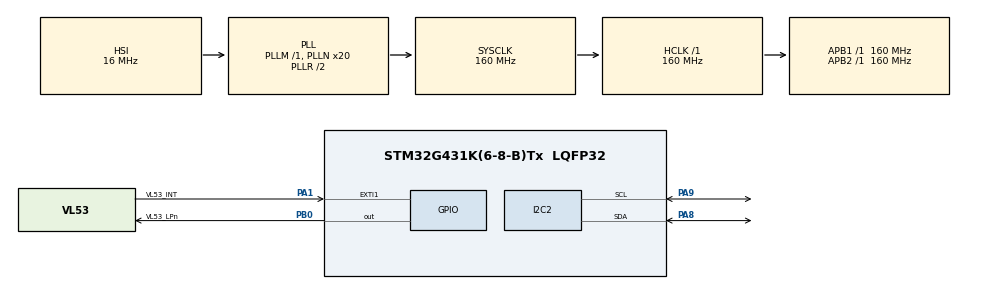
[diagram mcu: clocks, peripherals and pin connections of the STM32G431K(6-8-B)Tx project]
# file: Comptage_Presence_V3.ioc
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I2C2.Timing=0x30D29DE4
Mcu.Family=STM32G4
Mcu.Name=STM32G431K(6-8-B)Tx
Mcu.Package=LQFP32
NVIC.EXTI1_IRQn=true\:0\:0\:false\:false\:true\:true\:true\:true
NVIC.PriorityGroup=NVIC_PRIORITYGROUP_4
PA1.GPIO_Label=VL53_INT
PA1.GPIO_ModeDefaultEXTI=GPIO_MODE_IT_FALLING
PA1.GPIO_PuPd=GPIO_PULLUP
PA1.Signal=GPXTI1
PA13.Mode=Serial_Wire
PA13.Signal=SYS_JTMS-SWDIO
PA14.Mode=Serial_Wire
PA14.Signal=SYS_JTCK-SWCLK
PA8.Mode=I2C
PA8.Signal=I2C2_SDA
PA9.Mode=I2C
PA9.Signal=I2C2_SCL
PB0.GPIO_Label=VL53_LPn
PB0.Signal=GPIO_Output
ProjectManager.HeapSize=0x200
ProjectManager.StackSize=0x400
ProjectManager.TargetToolchain=STM32CubeIDE
RCC.ADC12Freq_Value=160000000
RCC.AHBFreq_Value=160000000
RCC.APB1Freq_Value=160000000
RCC.APB1TimFreq_Value=160000000
RCC.APB2Freq_Value=160000000
RCC.APB2TimFreq_Value=160000000
RCC.CortexFreq_Value=160000000
RCC.EXTERNAL_CLOCK_VALUE=12288000
RCC.HCLKFreq_Value=160000000
RCC.HSE_VALUE=8000000
RCC.HSI48_VALUE=48000000
RCC.HSI_VALUE=16000000
RCC.LSE_VALUE=32768
RCC.PLLN=20
RCC.SYSCLKFreq_VALUE=160000000
RCC.SYSCLKSource=RCC_SYSCLKSOURCE_PLLCLK
RCC.USBFreq_Value=160000000
RCC.VCOOutputFreq_Value=320000000
VP_SYS_VS_DBSignals.Mode=DisableDeadBatterySignals
board=custom

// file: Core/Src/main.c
/* USER CODE BEGIN Header */
/**
  ******************************************************************************
  * @file           : main.c
  * @brief          : Main program body
  ******************************************************************************
  * @attention
  *
  * Copyright (c) 2026 STMicroelectronics.
  * All rights reserved.
  *
  * This software is licensed under terms that can be found in the LICENSE file
  * in the root directory of this software component.
  * If no LICENSE file comes with this software, it is provided AS-IS.
  *
  ******************************************************************************
  */
/* USER CODE END Header */
#include "main.h"

/* USER CODE BEGIN Includes */
#include "vl53l5cx_api.h"
/* USER CODE END Includes */

/* USER CODE BEGIN PD */
#define HAL_UART_MODULE_ENABLED
/* USER CODE END PD */

I2C_HandleTypeDef hi2c2;

/* USER CODE BEGIN PV */
VL53L5CX_Configuration 	Dev;
VL53L5CX_ResultsData 	Results;

#define DIST_THRESHOLD_MM 1000

typedef enum {
    STATE_IDLE,
    STATE_WAIT_EXIT_RIGHT,
    STATE_WAIT_EXIT_LEFT
} CountState_t;

CountState_t currentState = STATE_IDLE;
int32_t passageCounter = 0;
uint8_t flagTargetInExitCol = 0;
/* USER CODE END PV */

void SystemClock_Config(void);
static void MX_GPIO_Init(void);
static void MX_I2C2_Init(void);
/* USER CODE BEGIN PFP */
uint32_t Get_Column_Average(VL53L5CX_ResultsData *pResults, uint8_t col_index);
/* USER CODE END PFP */

int main(void)
{

  /* MCU Configuration--------------------------------------------------------*/

  /* Reset of all peripherals, Initializes the Flash interface and the Systick. */
  HAL_Init();

  /* Configure the system clock */
  SystemClock_Config();

  /* Initialize all configured peripherals */
  MX_GPIO_Init();
  MX_I2C2_Init();
  /* USER CODE BEGIN 2 */
  /* USER CODE BEGIN 2 */
    printf("\r\n--- Initialisation VL53L5CX (Mode I2C2) --- \r\n");

    HAL_GPIO_WritePin(GPIOB, GPIO_PIN_0, GPIO_PIN_RESET);
    HAL_Delay(20);
    HAL_GPIO_WritePin(GPIOB, GPIO_PIN_0, GPIO_PIN_SET);
    HAL_Delay(100);

    Dev.platform.address = 0x52;
    Dev.platform.i2c_handle = &hi2c2;

    printf("Verification du bus I2C2...\r\n");
    if(HAL_I2C_IsDeviceReady(&hi2c2, 0x52, 5, 100) == HAL_OK) {
        printf("Hardware OK : Capteur detecte sur I2C2 (0x52)\r\n");
    } else {
        printf("ERREUR Hardware : Rien ne repond sur PA8/PA9\r\n");
    }

    uint8_t isAlive = 0;
    uint8_t status = vl53l5cx_is_alive(&Dev, &isAlive);

    if (status == 0 && isAlive) {
        printf("Capteur détecté\r\n");
        vl53l5cx_init(&Dev);
        vl53l5cx_set_resolution(&Dev, VL53L5CX_RESOLUTION_8X8);
        vl53l5cx_set_ranging_frequency_hz(&Dev, 15);
        vl53l5cx_start_ranging(&Dev);
    } else {
        printf("ERREUR : Capteur non détecté\r\n");
    }
  /* USER CODE END 2 */

  /* Infinite loop */
  /* USER CODE BEGIN WHILE */
    while (1)
      {
          uint8_t isReady = 0;
          vl53l5cx_check_data_ready(&Dev, &isReady);

          if (isReady) {
              vl53l5cx_get_ranging_data(&Dev, &Results);
              uint32_t avgCol0 = Get_Column_Average(&Results, 0);
              uint32_t avgCol3 = Get_Column_Average(&Results, 3);
              uint32_t avgCol4 = Get_Column_Average(&Results, 4);
              uint32_t avgCol7 = Get_Column_Average(&Results, 7);

              switch(currentState) {

                  case STATE_IDLE:
                      if (avgCol3 < DIST_THRESHOLD_MM) {
                          currentState = STATE_WAIT_EXIT_RIGHT;
                          flagTargetInExitCol = 0;
                      }
                      else if (avgCol4 < DIST_THRESHOLD_MM) {
                          currentState = STATE_WAIT_EXIT_LEFT;
                          flagTargetInExitCol = 0;
                      }
                      break;

                  case STATE_WAIT_EXIT_RIGHT:
                      if (avgCol7 < DIST_THRESHOLD_MM) {
                          flagTargetInExitCol = 1;
                      }
                      else if (flagTargetInExitCol && avgCol7 >= DIST_THRESHOLD_MM) {
                          passageCounter++;
                          currentState = STATE_IDLE;
                      }
                      break;

                  case STATE_WAIT_EXIT_LEFT:
                      if (avgCol0 < DIST_THRESHOLD_MM) {
                          flagTargetInExitCol = 1;
                      }
                      else if (flagTargetInExitCol && avgCol0 >= DIST_THRESHOLD_MM) {
                          passageCounter--;
                          currentState = STATE_IDLE;
                      }
                      break;
              }
          }
    /* USER CODE END WHILE */

  }
}

void SystemClock_Config(void)
{
  RCC_OscInitTypeDef RCC_OscInitStruct = {0};
  RCC_ClkInitTypeDef RCC_ClkInitStruct = {0};

  /** Configure the main internal regulator output voltage
  */
  HAL_PWREx_ControlVoltageScaling(PWR_REGULATOR_VOLTAGE_SCALE1_BOOST);

  /** Initializes the RCC Oscillators according to the specified parameters
  * in the RCC_OscInitTypeDef structure.
  */
  RCC_OscInitStruct.OscillatorType = RCC_OSCILLATORTYPE_HSI;
  RCC_OscInitStruct.HSIState = RCC_HSI_ON;
  RCC_OscInitStruct.HSICalibrationValue = RCC_HSICALIBRATION_DEFAULT;
  RCC_OscInitStruct.PLL.PLLState = RCC_PLL_ON;
  RCC_OscInitStruct.PLL.PLLSource = RCC_PLLSOURCE_HSI;
  RCC_OscInitStruct.PLL.PLLM = RCC_PLLM_DIV1;
  RCC_OscInitStruct.PLL.PLLN = 20;
  RCC_OscInitStruct.PLL.PLLP = RCC_PLLP_DIV2;
  RCC_OscInitStruct.PLL.PLLQ = RCC_PLLQ_DIV2;
  RCC_OscInitStruct.PLL.PLLR = RCC_PLLR_DIV2;
  if (HAL_RCC_OscConfig(&RCC_OscInitStruct) != HAL_OK)
  {
    Error_Handler();
  }

  /** Initializes the CPU, AHB and APB buses clocks
  */
  RCC_ClkInitStruct.ClockType = RCC_CLOCKTYPE_HCLK|RCC_CLOCKTYPE_SYSCLK
                              |RCC_CLOCKTYPE_PCLK1|RCC_CLOCKTYPE_PCLK2;
  RCC_ClkInitStruct.SYSCLKSource = RCC_SYSCLKSOURCE_PLLCLK;
  RCC_ClkInitStruct.AHBCLKDivider = RCC_SYSCLK_DIV1;
  RCC_ClkInitStruct.APB1CLKDivider = RCC_HCLK_DIV1;
  RCC_ClkInitStruct.APB2CLKDivider = RCC_HCLK_DIV1;

  if (HAL_RCC_ClockConfig(&RCC_ClkInitStruct, FLASH_LATENCY_4) != HAL_OK)
  {
    Error_Handler();
  }
}

static void MX_I2C2_Init(void)
{

  hi2c2.Instance = I2C2;
  hi2c2.Init.Timing = 0x30D29DE4;
  hi2c2.Init.OwnAddress1 = 0;
  hi2c2.Init.AddressingMode = I2C_ADDRESSINGMODE_7BIT;
  hi2c2.Init.DualAddressMode = I2C_DUALADDRESS_DISABLE;
  hi2c2.Init.OwnAddress2 = 0;
  hi2c2.Init.OwnAddress2Masks = I2C_OA2_NOMASK;
  hi2c2.Init.GeneralCallMode = I2C_GENERALCALL_DISABLE;
  hi2c2.Init.NoStretchMode = I2C_NOSTRETCH_DISABLE;
  if (HAL_I2C_Init(&hi2c2) != HAL_OK)
  {
    Error_Handler();
  }

  /** Configure Analogue filter
  */
  if (HAL_I2CEx_ConfigAnalogFilter(&hi2c2, I2C_ANALOGFILTER_ENABLE) != HAL_OK)
  {
    Error_Handler();
  }

  /** Configure Digital filter
  */
  if (HAL_I2CEx_ConfigDigitalFilter(&hi2c2, 0) != HAL_OK)
  {
    Error_Handler();
  }

}

static void MX_GPIO_Init(void)
{
  GPIO_InitTypeDef GPIO_InitStruct = {0};

  /* GPIO Ports Clock Enable */
  __HAL_RCC_GPIOA_CLK_ENABLE();
  __HAL_RCC_GPIOB_CLK_ENABLE();

  /*Configure GPIO pin Output Level */
  HAL_GPIO_WritePin(VL53_LPn_GPIO_Port, VL53_LPn_Pin, GPIO_PIN_RESET);

  /*Configure GPIO pin : VL53_INT_Pin */
  GPIO_InitStruct.Pin = VL53_INT_Pin;
  GPIO_InitStruct.Mode = GPIO_MODE_IT_FALLING;
  GPIO_InitStruct.Pull = GPIO_PULLUP;
  HAL_GPIO_Init(VL53_INT_GPIO_Port, &GPIO_InitStruct);

  /*Configure GPIO pin : VL53_LPn_Pin */
  GPIO_InitStruct.Pin = VL53_LPn_Pin;
  GPIO_InitStruct.Mode = GPIO_MODE_OUTPUT_PP;
  GPIO_InitStruct.Pull = GPIO_NOPULL;
  GPIO_InitStruct.Speed = GPIO_SPEED_FREQ_LOW;
  HAL_GPIO_Init(VL53_LPn_GPIO_Port, &GPIO_InitStruct);

  /* EXTI interrupt init*/
  HAL_NVIC_SetPriority(EXTI1_IRQn, 0, 0);
  HAL_NVIC_EnableIRQ(EXTI1_IRQn);

}

/* USER CODE BEGIN 4 */
uint32_t Get_Column_Average(VL53L5CX_ResultsData *pResults, uint8_t col_index) {
    uint32_t sum = 0;
    uint8_t valid_zones = 0;

    for (int row = 0; row < 8; row++) {
        uint8_t zone = (row * 8) + col_index;

        if (pResults->target_status[VL53L5CX_NB_TARGET_PER_ZONE * zone] == 5 ||
            pResults->target_status[VL53L5CX_NB_TARGET_PER_ZONE * zone] == 9) {

            sum += pResults->distance_mm[VL53L5CX_NB_TARGET_PER_ZONE * zone];
            valid_zones++;
        }
    }

    if (valid_zones == 0) return 9999;
    return (sum / valid_zones);
}
/* USER CODE END 4 */

void Error_Handler(void)
{
  __disable_irq();
  while (1)
  {
  }
}
